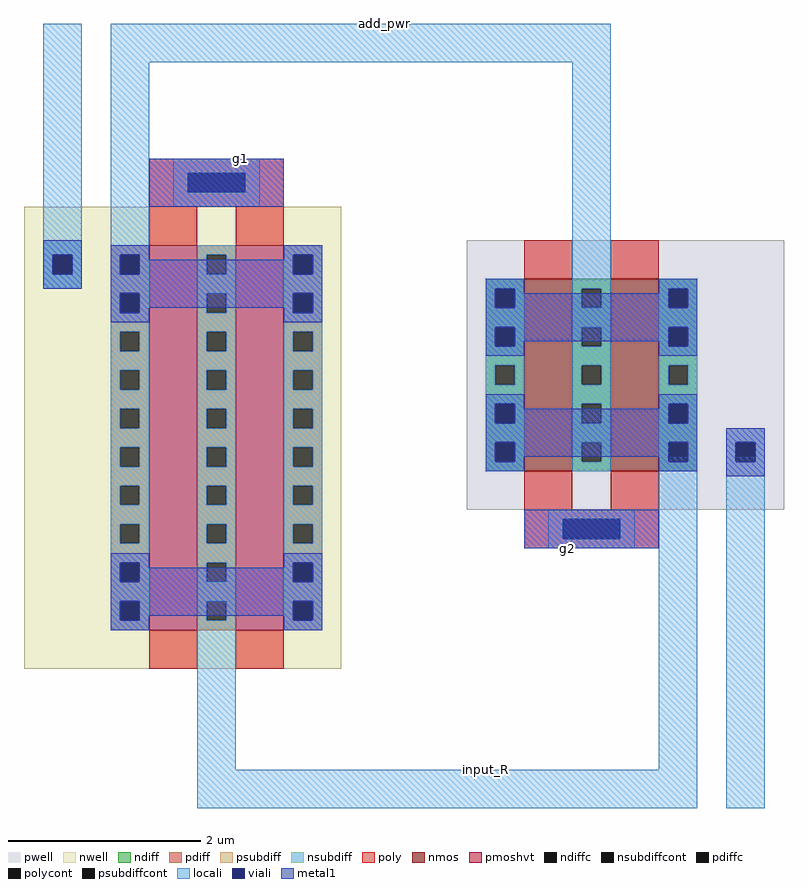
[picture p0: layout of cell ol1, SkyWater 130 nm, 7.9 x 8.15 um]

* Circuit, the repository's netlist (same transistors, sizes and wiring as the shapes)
* NGSPICE file created from ol1.ext - technology: sky130A

.subckt n_lk G S D B
X0 D G S B sky130_fd_pr__nfet_01v8 ad=0.4 pd=2.4 as=0.8 ps=4.8 w=2 l=0.5 M=2
.ends

.subckt p_lk G S D B
X0 D G S B sky130_fd_pr__pfet_01v8_hvt ad=0.8 pd=4.4 as=1.6 ps=8.8 w=4 l=0.5 M=2
.ends

.subckt ol1 add_pwr input_R g1 g2
Xn_lk_0 g2 input_R add_pwr VSUBS n_lk
Xp_lk_0 g1 add_pwr input_R p_lk_0/B p_lk
.ends

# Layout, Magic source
magic
tech sky130A
<< locali >>
rect 20 445 60 670
rect 90 630 610 670
rect 90 440 130 630
rect 570 400 610 630
rect 180 -105 220 40
rect 660 -105 700 220
rect 180 -145 700 -105
rect 730 -145 770 220
<< metal1 >>
rect 130 480 270 530
rect 520 125 660 165
use n_lk  n_lk_0
transform -1 0 660 0 -1 405
box -130 -40 200 280
use p_lk  p_lk_0
transform 1 0 130 0 1 40
box -130 -40 200 490
<< labels >>
rlabel locali 480 -105 480 -105 1 input_R
port 2 n
rlabel metal1 225 530 225 530 1 g1
port 3 n
rlabel metal1 565 125 565 125 5 g2
port 4 s
rlabel locali 375 670 375 670 1 add_pwr
port 1 n
<< end >>

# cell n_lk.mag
magic
tech sky130A
<< pwell >>
rect -130 -40 200 240
<< nmos >>
rect 0 0 50 200
rect 90 0 140 200
<< ndiff >>
rect -40 190 0 200
rect -40 170 -30 190
rect -10 170 0 190
rect -40 150 0 170
rect -40 130 -30 150
rect -10 130 0 150
rect -40 110 0 130
rect -40 90 -30 110
rect -10 90 0 110
rect -40 70 0 90
rect -40 50 -30 70
rect -10 50 0 70
rect -40 30 0 50
rect -40 10 -30 30
rect -10 10 0 30
rect -40 0 0 10
rect 50 190 90 200
rect 50 170 60 190
rect 80 170 90 190
rect 50 150 90 170
rect 50 130 60 150
rect 80 130 90 150
rect 50 110 90 130
rect 50 90 60 110
rect 80 90 90 110
rect 50 70 90 90
rect 50 50 60 70
rect 80 50 90 70
rect 50 30 90 50
rect 50 10 60 30
rect 80 10 90 30
rect 50 0 90 10
rect 140 190 180 200
rect 140 170 150 190
rect 170 170 180 190
rect 140 150 180 170
rect 140 130 150 150
rect 170 130 180 150
rect 140 110 180 130
rect 140 90 150 110
rect 170 90 180 110
rect 140 70 180 90
rect 140 50 150 70
rect 170 50 180 70
rect 140 30 180 50
rect 140 10 150 30
rect 170 10 180 30
rect 140 0 180 10
<< ndiffc >>
rect -30 170 -10 190
rect -30 130 -10 150
rect -30 90 -10 110
rect -30 50 -10 70
rect -30 10 -10 30
rect 60 170 80 190
rect 60 130 80 150
rect 60 90 80 110
rect 60 50 80 70
rect 60 10 80 30
rect 150 170 170 190
rect 150 130 170 150
rect 150 90 170 110
rect 150 50 170 70
rect 150 10 170 30
<< psubdiff >>
rect -110 190 -70 205
rect -110 170 -100 190
rect -80 170 -70 190
rect -110 155 -70 170
<< psubdiffcont >>
rect -100 170 -80 190
<< poly >>
rect 0 270 140 280
rect 0 250 40 270
rect 100 250 140 270
rect 0 240 140 250
rect 0 200 50 240
rect 90 200 140 240
rect 0 -40 50 0
rect 90 -40 140 0
<< polycont >>
rect 40 250 100 270
<< locali >>
rect 25 270 115 280
rect 25 250 40 270
rect 100 250 115 270
rect 25 240 115 250
rect -110 190 -70 205
rect -110 170 -100 190
rect -80 170 -70 190
rect -110 155 -70 170
rect -40 190 0 200
rect -40 170 -30 190
rect -10 170 0 190
rect -40 150 0 170
rect -40 130 -30 150
rect -10 130 0 150
rect -40 110 0 130
rect -40 90 -30 110
rect -10 90 0 110
rect -40 70 0 90
rect -40 50 -30 70
rect -10 50 0 70
rect -40 30 0 50
rect -40 10 -30 30
rect -10 10 0 30
rect -40 0 0 10
rect 50 190 90 200
rect 50 170 60 190
rect 80 170 90 190
rect 50 150 90 170
rect 50 130 60 150
rect 80 130 90 150
rect 50 110 90 130
rect 50 90 60 110
rect 80 90 90 110
rect 50 70 90 90
rect 50 50 60 70
rect 80 50 90 70
rect 50 30 90 50
rect 50 10 60 30
rect 80 10 90 30
rect 50 0 90 10
rect 140 190 180 200
rect 140 170 150 190
rect 170 170 180 190
rect 140 150 180 170
rect 140 130 150 150
rect 170 130 180 150
rect 140 110 180 130
rect 140 90 150 110
rect 170 90 180 110
rect 140 70 180 90
rect 140 50 150 70
rect 170 50 180 70
rect 140 30 180 50
rect 140 10 150 30
rect 170 10 180 30
rect 140 0 180 10
<< viali >>
rect 40 250 100 270
rect -100 170 -80 190
rect -30 170 -10 190
rect -30 130 -10 150
rect -30 50 -10 70
rect -30 10 -10 30
rect 150 170 170 190
rect 150 130 170 150
rect 150 50 170 70
rect 150 10 170 30
<< metal1 >>
rect 0 270 140 280
rect 0 250 40 270
rect 100 250 140 270
rect 0 240 140 250
rect -110 190 -70 205
rect -110 170 -100 190
rect -80 170 -70 190
rect -110 155 -70 170
rect -40 190 0 200
rect -40 170 -30 190
rect -10 185 0 190
rect 140 190 180 200
rect 140 185 150 190
rect -10 170 150 185
rect 170 170 180 190
rect -40 150 180 170
rect -40 130 -30 150
rect -10 135 150 150
rect -10 130 0 135
rect -40 120 0 130
rect 140 130 150 135
rect 170 130 180 150
rect 140 120 180 130
rect -40 70 0 80
rect -40 50 -30 70
rect -10 65 0 70
rect 140 70 180 80
rect 140 65 150 70
rect -10 50 150 65
rect 170 50 180 70
rect -40 30 180 50
rect -40 10 -30 30
rect -10 15 150 30
rect -10 10 0 15
rect -40 0 0 10
rect 140 10 150 15
rect 170 10 180 30
rect 140 0 180 10
<< labels >>
rlabel metal1 -90 205 -90 205 1 B
port 4 n
rlabel metal1 -20 200 -20 200 1 S
port 2 n
rlabel locali 70 0 70 0 5 D
port 3 s
rlabel metal1 70 280 70 280 1 G
port 1 n
<< end >>

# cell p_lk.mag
magic
tech sky130A
<< nwell >>
rect -130 -40 200 440
<< pmoshvt >>
rect 0 0 50 400
rect 90 0 140 400
<< pdiff >>
rect -40 390 0 400
rect -40 370 -30 390
rect -10 370 0 390
rect -40 350 0 370
rect -40 330 -30 350
rect -10 330 0 350
rect -40 310 0 330
rect -40 290 -30 310
rect -10 290 0 310
rect -40 270 0 290
rect -40 250 -30 270
rect -10 250 0 270
rect -40 230 0 250
rect -40 210 -30 230
rect -10 210 0 230
rect -40 190 0 210
rect -40 170 -30 190
rect -10 170 0 190
rect -40 150 0 170
rect -40 130 -30 150
rect -10 130 0 150
rect -40 110 0 130
rect -40 90 -30 110
rect -10 90 0 110
rect -40 70 0 90
rect -40 50 -30 70
rect -10 50 0 70
rect -40 30 0 50
rect -40 10 -30 30
rect -10 10 0 30
rect -40 0 0 10
rect 50 390 90 400
rect 50 370 60 390
rect 80 370 90 390
rect 50 350 90 370
rect 50 330 60 350
rect 80 330 90 350
rect 50 310 90 330
rect 50 290 60 310
rect 80 290 90 310
rect 50 270 90 290
rect 50 250 60 270
rect 80 250 90 270
rect 50 230 90 250
rect 50 210 60 230
rect 80 210 90 230
rect 50 190 90 210
rect 50 170 60 190
rect 80 170 90 190
rect 50 150 90 170
rect 50 130 60 150
rect 80 130 90 150
rect 50 110 90 130
rect 50 90 60 110
rect 80 90 90 110
rect 50 70 90 90
rect 50 50 60 70
rect 80 50 90 70
rect 50 30 90 50
rect 50 10 60 30
rect 80 10 90 30
rect 50 0 90 10
rect 140 390 180 400
rect 140 370 150 390
rect 170 370 180 390
rect 140 350 180 370
rect 140 330 150 350
rect 170 330 180 350
rect 140 310 180 330
rect 140 290 150 310
rect 170 290 180 310
rect 140 270 180 290
rect 140 250 150 270
rect 170 250 180 270
rect 140 230 180 250
rect 140 210 150 230
rect 170 210 180 230
rect 140 190 180 210
rect 140 170 150 190
rect 170 170 180 190
rect 140 150 180 170
rect 140 130 150 150
rect 170 130 180 150
rect 140 110 180 130
rect 140 90 150 110
rect 170 90 180 110
rect 140 70 180 90
rect 140 50 150 70
rect 170 50 180 70
rect 140 30 180 50
rect 140 10 150 30
rect 170 10 180 30
rect 140 0 180 10
<< pdiffc >>
rect -30 370 -10 390
rect -30 330 -10 350
rect -30 290 -10 310
rect -30 250 -10 270
rect -30 210 -10 230
rect -30 170 -10 190
rect -30 130 -10 150
rect -30 90 -10 110
rect -30 50 -10 70
rect -30 10 -10 30
rect 60 370 80 390
rect 60 330 80 350
rect 60 290 80 310
rect 60 250 80 270
rect 60 210 80 230
rect 60 170 80 190
rect 60 130 80 150
rect 60 90 80 110
rect 60 50 80 70
rect 60 10 80 30
rect 150 370 170 390
rect 150 330 170 350
rect 150 290 170 310
rect 150 250 170 270
rect 150 210 170 230
rect 150 170 170 190
rect 150 130 170 150
rect 150 90 170 110
rect 150 50 170 70
rect 150 10 170 30
<< nsubdiff >>
rect -110 390 -70 405
rect -110 370 -100 390
rect -80 370 -70 390
rect -110 355 -70 370
<< nsubdiffcont >>
rect -100 370 -80 390
<< poly >>
rect 0 475 140 490
rect 0 455 40 475
rect 100 455 140 475
rect 0 440 140 455
rect 0 400 50 440
rect 90 400 140 440
rect 0 -40 50 0
rect 90 -40 140 0
<< polycont >>
rect 40 455 100 475
<< locali >>
rect 25 475 115 490
rect 25 455 40 475
rect 100 455 115 475
rect 25 440 115 455
rect -110 390 -70 405
rect -110 370 -100 390
rect -80 370 -70 390
rect -110 355 -70 370
rect -40 390 0 400
rect -40 370 -30 390
rect -10 370 0 390
rect -40 350 0 370
rect -40 330 -30 350
rect -10 330 0 350
rect -40 310 0 330
rect -40 290 -30 310
rect -10 290 0 310
rect -40 270 0 290
rect -40 250 -30 270
rect -10 250 0 270
rect -40 230 0 250
rect -40 210 -30 230
rect -10 210 0 230
rect -40 190 0 210
rect -40 170 -30 190
rect -10 170 0 190
rect -40 150 0 170
rect -40 130 -30 150
rect -10 130 0 150
rect -40 110 0 130
rect -40 90 -30 110
rect -10 90 0 110
rect -40 70 0 90
rect -40 50 -30 70
rect -10 50 0 70
rect -40 30 0 50
rect -40 10 -30 30
rect -10 10 0 30
rect -40 0 0 10
rect 50 390 90 400
rect 50 370 60 390
rect 80 370 90 390
rect 50 350 90 370
rect 50 330 60 350
rect 80 330 90 350
rect 50 310 90 330
rect 50 290 60 310
rect 80 290 90 310
rect 50 270 90 290
rect 50 250 60 270
rect 80 250 90 270
rect 50 230 90 250
rect 50 210 60 230
rect 80 210 90 230
rect 50 190 90 210
rect 50 170 60 190
rect 80 170 90 190
rect 50 150 90 170
rect 50 130 60 150
rect 80 130 90 150
rect 50 110 90 130
rect 50 90 60 110
rect 80 90 90 110
rect 50 70 90 90
rect 50 50 60 70
rect 80 50 90 70
rect 50 30 90 50
rect 50 10 60 30
rect 80 10 90 30
rect 50 0 90 10
rect 140 390 180 400
rect 140 370 150 390
rect 170 370 180 390
rect 140 350 180 370
rect 140 330 150 350
rect 170 330 180 350
rect 140 310 180 330
rect 140 290 150 310
rect 170 290 180 310
rect 140 270 180 290
rect 140 250 150 270
rect 170 250 180 270
rect 140 230 180 250
rect 140 210 150 230
rect 170 210 180 230
rect 140 190 180 210
rect 140 170 150 190
rect 170 170 180 190
rect 140 150 180 170
rect 140 130 150 150
rect 170 130 180 150
rect 140 110 180 130
rect 140 90 150 110
rect 170 90 180 110
rect 140 70 180 90
rect 140 50 150 70
rect 170 50 180 70
rect 140 30 180 50
rect 140 10 150 30
rect 170 10 180 30
rect 140 0 180 10
<< viali >>
rect 40 455 100 475
rect -100 370 -80 390
rect -30 370 -10 390
rect -30 330 -10 350
rect -30 50 -10 70
rect -30 10 -10 30
rect 150 370 170 390
rect 150 330 170 350
rect 150 50 170 70
rect 150 10 170 30
<< metal1 >>
rect 0 475 140 490
rect 0 455 40 475
rect 100 455 140 475
rect 0 440 140 455
rect -110 390 -70 405
rect -110 370 -100 390
rect -80 370 -70 390
rect -110 355 -70 370
rect -40 390 0 400
rect -40 370 -30 390
rect -10 385 0 390
rect 140 390 180 400
rect 140 385 150 390
rect -10 370 150 385
rect 170 370 180 390
rect -40 350 180 370
rect -40 330 -30 350
rect -10 335 150 350
rect -10 330 0 335
rect -40 320 0 330
rect 140 330 150 335
rect 170 330 180 350
rect 140 320 180 330
rect -40 70 0 80
rect -40 50 -30 70
rect -10 65 0 70
rect 140 70 180 80
rect 140 65 150 70
rect -10 50 150 65
rect 170 50 180 70
rect -40 30 180 50
rect -40 10 -30 30
rect -10 15 150 30
rect -10 10 0 15
rect -40 0 0 10
rect 140 10 150 15
rect 170 10 180 30
rect 140 0 180 10
<< labels >>
rlabel metal1 -90 405 -90 405 1 B
port 4 n
rlabel metal1 -20 400 -20 400 1 S
port 2 n
rlabel locali 70 0 70 0 5 D
port 3 s
rlabel metal1 70 490 70 490 1 G
port 1 n
<< end >>
